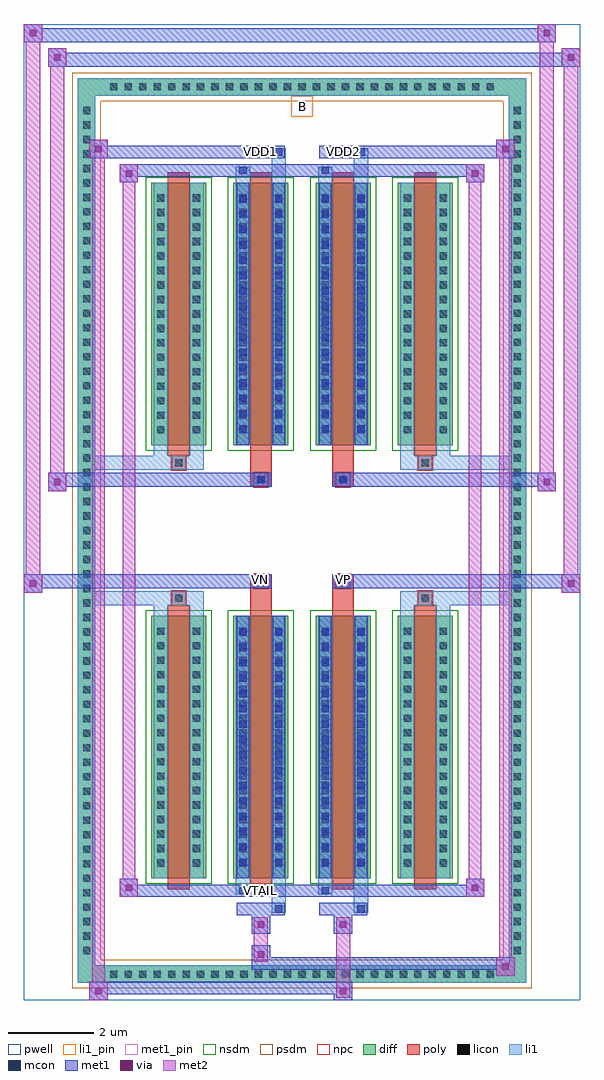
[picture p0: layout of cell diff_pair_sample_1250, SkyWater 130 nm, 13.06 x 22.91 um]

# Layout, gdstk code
import gdstk
lib = gdstk.Library(unit=1e-6, precision=5e-09)
def R(c, l, rs):  # rectangles x0, y0, x1, y1
    for r in rs: c.add(gdstk.rectangle(r[:2], r[2:], *l))
def A(c, l, x, y, w, h, nx, ny, dx, dy):  # array of equal rectangles
    R(c, l, [(x+i*dx, y+j*dy, x+i*dx+w, y+j*dy+h) for i in range(nx) for j in range(ny)])
def P(c, l, *ps):  # polygons
    for p in ps: c.add(gdstk.Polygon(p, *l))
pwell = (64, 44)
diff = (65, 20)
poly = (66, 20)
licon = (66, 44)
li1_pin = (67, 16)
li1 = (67, 20)
mcon = (67, 44)
met1_pin = (68, 16)
met1 = (68, 20)
via = (68, 44)
met2 = (69, 20)
nsdm = (93, 44)
psdm = (94, 20)
npc = (95, 20)

diff_pair_sample_1250 = lib.new_cell('diff_pair_sample_1250')
R(diff_pair_sample_1250, pwell, [(-6.53,-11.02,6.53,11.89), (-3.85,-9.21,-0.01,-0.825), (0.01,-9.21,3.85,-0.825), (-3.85,0.825,-0.01,9.21), (0.01,0.825,3.85,9.21)])
A(diff_pair_sample_1250, diff, -4.625, -10.62, 0.41, 0.41, 27, 2, 0.34, 20.83)
A(diff_pair_sample_1250, diff, -5.26, -10.065, 0.41, 0.41, 1, 59, 0, 0.34)
A(diff_pair_sample_1250, diff, 4.85, -10.065, 0.41, 0.41, 1, 59, 0, 0.34)
A(diff_pair_sample_1250, diff, -3.54, -8.165, 1.29, 6.16, 4, 2, 1.93, 10.17)
R(diff_pair_sample_1250, diff, [(-4.625,-10.62,4.625,-10.21), (-5.26,-10.065,-4.85,10.065), (4.85,-10.065,5.26,10.065), (-4.625,10.21,4.625,10.62)])
P(diff_pair_sample_1250, diff, [(5.26,10.62),(-5.26,10.62),(-5.26,-10.21),(-4.85,-10.21),(-4.85,10.21),(4.85,10.21),(4.85,-10.21),(-4.85,-10.21),(-5.26,-10.21),(-5.26,-10.62),(5.26,-10.62)])
A(diff_pair_sample_1250, poly, -3.15, -8.415, 0.51, 6.66, 4, 2, 1.93, 10.17)
R(diff_pair_sample_1250, poly, [(-3.06,-1.755,-2.73,-1.425), (-3.06,-1.755,-2.73,-1.425), (-1.22,-1.755,-0.71,-1.355), (0.71,-1.755,1.22,-1.355), (2.73,-1.755,3.06,-1.425), (2.73,-1.755,3.06,-1.425), (-1.22,-1.355,-0.71,-1.025), (-1.13,-1.355,-0.8,-1.025), (0.71,-1.355,1.22,-1.025), (0.8,-1.355,1.13,-1.025), (-1.22,1.025,-0.71,1.355), (-1.13,1.025,-0.8,1.355), (0.71,1.025,1.22,1.355), (0.8,1.025,1.13,1.355), (-1.22,1.355,-0.71,1.755), (0.71,1.355,1.22,1.755), (-3.06,1.425,-2.73,1.755), (-3.06,1.425,-2.73,1.755), (2.73,1.425,3.06,1.755), (2.73,1.425,3.06,1.755)])
A(diff_pair_sample_1250, licon, -4.505, -10.5, 0.17, 0.17, 27, 2, 0.34, 20.83)
A(diff_pair_sample_1250, licon, -5.14, -9.945, 0.17, 0.17, 1, 59, 0, 0.34)
A(diff_pair_sample_1250, licon, 4.97, -9.945, 0.17, 0.17, 1, 59, 0, 0.34)
A(diff_pair_sample_1250, licon, -3.4, -7.89, 0.17, 0.17, 1, 17, 0, 0.34)
A(diff_pair_sample_1250, licon, -2.56, -7.89, 0.17, 0.17, 1, 17, 0, 0.34)
A(diff_pair_sample_1250, licon, -1.47, -7.89, 0.17, 0.17, 1, 17, 0, 0.34)
A(diff_pair_sample_1250, licon, -0.63, -7.89, 0.17, 0.17, 1, 17, 0, 0.34)
A(diff_pair_sample_1250, licon, 0.46, -7.89, 0.17, 0.17, 1, 17, 0, 0.34)
A(diff_pair_sample_1250, licon, 1.3, -7.89, 0.17, 0.17, 1, 17, 0, 0.34)
A(diff_pair_sample_1250, licon, 2.39, -7.89, 0.17, 0.17, 1, 17, 0, 0.34)
A(diff_pair_sample_1250, licon, 3.23, -7.89, 0.17, 0.17, 1, 17, 0, 0.34)
A(diff_pair_sample_1250, licon, -3.4, 2.28, 0.17, 0.17, 1, 17, 0, 0.34)
A(diff_pair_sample_1250, licon, -2.56, 2.28, 0.17, 0.17, 1, 17, 0, 0.34)
A(diff_pair_sample_1250, licon, -1.47, 2.28, 0.17, 0.17, 1, 17, 0, 0.34)
A(diff_pair_sample_1250, licon, -0.63, 2.28, 0.17, 0.17, 1, 17, 0, 0.34)
A(diff_pair_sample_1250, licon, 0.46, 2.28, 0.17, 0.17, 1, 17, 0, 0.34)
A(diff_pair_sample_1250, licon, 1.3, 2.28, 0.17, 0.17, 1, 17, 0, 0.34)
A(diff_pair_sample_1250, licon, 2.39, 2.28, 0.17, 0.17, 1, 17, 0, 0.34)
A(diff_pair_sample_1250, licon, 3.23, 2.28, 0.17, 0.17, 1, 17, 0, 0.34)
R(diff_pair_sample_1250, licon, [(-2.98,-1.675,-2.81,-1.505), (2.81,-1.675,2.98,-1.505), (-1.05,-1.275,-0.88,-1.105), (0.88,-1.275,1.05,-1.105), (-1.05,1.105,-0.88,1.275), (0.88,1.105,1.05,1.275), (-2.98,1.505,-2.81,1.675), (2.81,1.505,2.98,1.675)])
R(diff_pair_sample_1250, li1_pin, [(-0.25,9.71,0.25,10.21)])
A(diff_pair_sample_1250, li1, -4.585, -10.58, 0.33, 0.33, 27, 2, 0.34, 20.83)
A(diff_pair_sample_1250, li1, -5.22, -10.025, 0.33, 0.33, 1, 59, 0, 0.34)
A(diff_pair_sample_1250, li1, 4.89, -10.025, 0.33, 0.33, 1, 59, 0, 0.34)
A(diff_pair_sample_1250, li1, -3.48, -7.97, 0.33, 0.33, 1, 17, 0, 0.34)
A(diff_pair_sample_1250, li1, -2.64, -7.97, 0.33, 0.33, 1, 17, 0, 0.34)
A(diff_pair_sample_1250, li1, -1.55, -7.97, 0.33, 0.33, 1, 17, 0, 0.34)
A(diff_pair_sample_1250, li1, -0.71, -7.97, 0.33, 0.33, 1, 17, 0, 0.34)
A(diff_pair_sample_1250, li1, 0.38, -7.97, 0.33, 0.33, 1, 17, 0, 0.34)
A(diff_pair_sample_1250, li1, 1.22, -7.97, 0.33, 0.33, 1, 17, 0, 0.34)
A(diff_pair_sample_1250, li1, 2.31, -7.97, 0.33, 0.33, 1, 17, 0, 0.34)
A(diff_pair_sample_1250, li1, 3.15, -7.97, 0.33, 0.33, 1, 17, 0, 0.34)
A(diff_pair_sample_1250, li1, -1.47, -7.87, 0.17, 0.17, 1, 16, 0, 0.36)
A(diff_pair_sample_1250, li1, -0.63, -7.87, 0.17, 0.17, 1, 16, 0, 0.36)
A(diff_pair_sample_1250, li1, 0.46, -7.87, 0.17, 0.17, 1, 16, 0, 0.36)
A(diff_pair_sample_1250, li1, 1.3, -7.87, 0.17, 0.17, 1, 16, 0, 0.36)
A(diff_pair_sample_1250, li1, -3.48, 2.2, 0.33, 0.33, 1, 17, 0, 0.34)
A(diff_pair_sample_1250, li1, -2.64, 2.2, 0.33, 0.33, 1, 17, 0, 0.34)
A(diff_pair_sample_1250, li1, -1.55, 2.2, 0.33, 0.33, 1, 17, 0, 0.34)
A(diff_pair_sample_1250, li1, -0.71, 2.2, 0.33, 0.33, 1, 17, 0, 0.34)
A(diff_pair_sample_1250, li1, 0.38, 2.2, 0.33, 0.33, 1, 17, 0, 0.34)
A(diff_pair_sample_1250, li1, 1.22, 2.2, 0.33, 0.33, 1, 17, 0, 0.34)
A(diff_pair_sample_1250, li1, 2.31, 2.2, 0.33, 0.33, 1, 17, 0, 0.34)
A(diff_pair_sample_1250, li1, 3.15, 2.2, 0.33, 0.33, 1, 17, 0, 0.34)
A(diff_pair_sample_1250, li1, -1.47, 2.3, 0.17, 0.17, 1, 16, 0, 0.36)
A(diff_pair_sample_1250, li1, -0.63, 2.3, 0.17, 0.17, 1, 16, 0, 0.36)
A(diff_pair_sample_1250, li1, 0.46, 2.3, 0.17, 0.17, 1, 16, 0, 0.36)
A(diff_pair_sample_1250, li1, 1.3, 2.3, 0.17, 0.17, 1, 16, 0, 0.36)
R(diff_pair_sample_1250, li1, [(-5.26,-10.62,-4.85,-10.21), (-5.26,-10.62,-4.85,-10.21), (-4.85,-10.62,4.85,-10.21), (4.85,-10.62,5.26,-10.21), (4.85,-10.62,5.26,-10.21), (-5.26,-10.21,-4.85,10.21), (4.85,-10.21,5.26,10.21), (-0.71,-8.97,-0.38,-8.165), (-0.63,-8.97,-0.46,-8.8), (1.22,-8.97,1.55,-8.165), (1.3,-8.97,1.47,-8.8), (-1.55,-8.54,-1.22,-8.165), (-1.47,-8.54,-1.3,-8.37), (0.38,-8.54,0.71,-8.165), (0.46,-8.54,0.63,-8.37), (-3.48,-8.165,-3.15,-2.005), (-2.64,-8.165,-2.31,-2.005), (-1.55,-8.165,-1.22,-2.005), (-0.71,-8.165,-0.38,-2.005), (0.38,-8.165,0.71,-2.005), (1.22,-8.165,1.55,-2.005), (2.31,-8.165,2.64,-2.005), (3.15,-8.165,3.48,-2.005), (-1.47,-7.87,-1.3,-2.3), (-0.63,-7.87,-0.46,-2.3), (0.46,-7.87,0.63,-2.3), (1.3,-7.87,1.47,-2.3), (-3.48,-2.005,-3.15,-1.425), (-2.64,-2.005,-2.31,-1.425), (2.31,-2.005,2.64,-1.425), (3.15,-2.005,3.48,-1.425), (-5.26,-1.755,-3.06,-1.425), (-3.48,-1.755,-3.06,-1.425), (-3.06,-1.755,-2.73,-1.425), (-2.73,-1.755,-2.31,-1.425), (2.31,-1.755,2.73,-1.425), (2.73,-1.755,3.06,-1.425), (2.73,-1.755,5.26,-1.425), (3.06,-1.755,3.48,-1.425), (-1.13,-1.355,-0.8,-1.025), (0.8,-1.355,1.13,-1.025), (-1.13,1.025,-0.8,1.355), (0.8,1.025,1.13,1.355), (-5.26,1.425,-3.06,1.755), (-3.48,1.425,-3.06,1.755), (-3.48,1.425,-3.15,2.005), (-3.06,1.425,-2.73,1.755), (-2.73,1.425,-2.31,1.755), (-2.64,1.425,-2.31,2.005), (2.31,1.425,2.73,1.755), (2.31,1.425,2.64,2.005), (2.73,1.425,3.06,1.755), (2.73,1.425,5.26,1.755), (3.06,1.425,3.48,1.755), (3.15,1.425,3.48,2.005), (-3.48,2.005,-3.15,8.165), (-2.64,2.005,-2.31,8.165), (-1.55,2.005,-1.22,8.165), (-0.71,2.005,-0.38,8.165), (0.38,2.005,0.71,8.165), (1.22,2.005,1.55,8.165), (2.31,2.005,2.64,8.165), (3.15,2.005,3.48,8.165), (-1.47,2.3,-1.3,7.87), (-0.63,2.3,-0.46,7.87), (0.46,2.3,0.63,7.87), (1.3,2.3,1.47,7.87), (-1.55,8.165,-1.22,8.54), (-0.71,8.165,-0.38,8.97), (0.38,8.165,0.71,8.54), (1.22,8.165,1.55,8.97), (-1.47,8.37,-1.3,8.54), (0.46,8.37,0.63,8.54), (-0.63,8.8,-0.46,8.97), (1.3,8.8,1.47,8.97), (-5.26,10.21,-4.85,10.62), (-5.26,10.21,-4.85,10.62), (-4.85,10.21,4.85,10.62), (4.85,10.21,5.26,10.62), (4.85,10.21,5.26,10.62)])
A(diff_pair_sample_1250, mcon, -1.47, -7.87, 0.17, 0.17, 1, 16, 0, 0.36)
A(diff_pair_sample_1250, mcon, -0.63, -7.87, 0.17, 0.17, 1, 16, 0, 0.36)
A(diff_pair_sample_1250, mcon, 0.46, -7.87, 0.17, 0.17, 1, 16, 0, 0.36)
A(diff_pair_sample_1250, mcon, 1.3, -7.87, 0.17, 0.17, 1, 16, 0, 0.36)
A(diff_pair_sample_1250, mcon, -1.47, 2.3, 0.17, 0.17, 1, 16, 0, 0.36)
A(diff_pair_sample_1250, mcon, -0.63, 2.3, 0.17, 0.17, 1, 16, 0, 0.36)
A(diff_pair_sample_1250, mcon, 0.46, 2.3, 0.17, 0.17, 1, 16, 0, 0.36)
A(diff_pair_sample_1250, mcon, 1.3, 2.3, 0.17, 0.17, 1, 16, 0, 0.36)
R(diff_pair_sample_1250, mcon, [(-0.63,-8.97,-0.46,-8.8), (1.3,-8.97,1.47,-8.8), (-1.47,-8.54,-1.3,-8.37), (0.46,-8.54,0.63,-8.37), (-1.05,-1.275,-0.88,-1.105), (0.88,-1.275,1.05,-1.105), (-1.05,1.105,-0.88,1.275), (0.88,1.105,1.05,1.275), (-1.47,8.37,-1.3,8.54), (0.46,8.37,0.63,8.54), (-0.63,8.8,-0.46,8.97), (1.3,8.8,1.47,8.97)])
R(diff_pair_sample_1250, met1_pin, [(-1.1,-8.58,-0.83,-8.31), (-1.1,-1.295,-0.83,-1.025), (0.83,-1.295,1.1,-1.025), (-1.1,8.76,-0.83,9.03), (0.83,8.76,1.1,9.03)])
A(diff_pair_sample_1250, met1, -1.53, -7.93, 0.29, 0.29, 1, 16, 0, 0.36)
A(diff_pair_sample_1250, met1, -0.69, -7.93, 0.29, 0.29, 1, 16, 0, 0.36)
A(diff_pair_sample_1250, met1, 0.4, -7.93, 0.29, 0.29, 1, 16, 0, 0.36)
A(diff_pair_sample_1250, met1, 1.24, -7.93, 0.29, 0.29, 1, 16, 0, 0.36)
A(diff_pair_sample_1250, met1, -1.53, 2.24, 0.29, 0.29, 1, 16, 0, 0.36)
A(diff_pair_sample_1250, met1, -0.69, 2.24, 0.29, 0.29, 1, 16, 0, 0.36)
A(diff_pair_sample_1250, met1, 0.4, 2.24, 0.29, 0.29, 1, 16, 0, 0.36)
A(diff_pair_sample_1250, met1, 1.24, 2.24, 0.29, 0.29, 1, 16, 0, 0.36)
R(diff_pair_sample_1250, met1, [(-4.99,-11.02,-4.56,-10.59), (0.75,-11.02,1.18,-10.59), (-4.99,-10.88,1.18,-10.59), (4.56,-10.45,4.99,-10.02), (-1.18,-10.31,4.99,-10.02), (-1.18,-10.17,-0.75,-9.74), (-1.18,-9.46,-0.75,-9.03), (0.75,-9.46,1.18,-9.03), (-1.53,-9.03,-0.4,-8.74), (-0.69,-9.03,-0.4,-8.74), (0.4,-9.03,1.53,-8.74), (1.24,-9.03,1.53,-8.74), (-4.28,-8.6,-3.85,-8.17), (-4.28,-8.6,-1.53,-8.31), (-1.53,-8.6,-1.24,-8.31), (-1.53,-8.6,-0.4,-8.31), (-0.4,-8.6,0.4,-8.31), (0.4,-8.6,0.69,-8.31), (0.4,-8.6,1.53,-8.31), (1.53,-8.6,4.28,-8.31), (3.85,-8.6,4.28,-8.17), (-1.53,-8.165,-1.24,-2.005), (-0.69,-8.165,-0.4,-2.005), (0.4,-8.165,0.69,-2.005), (1.24,-8.165,1.53,-2.005), (-6.53,-1.455,-6.1,-1.025), (6.1,-1.455,6.53,-1.025), (-6.53,-1.355,-0.71,-1.025), (-1.22,-1.355,-0.71,-1.025), (0.71,-1.355,1.22,-1.025), (0.71,-1.355,6.53,-1.025), (-1.11,-1.335,-0.82,-1.045), (0.82,-1.335,1.11,-1.045), (-5.96,0.925,-5.53,1.355), (5.53,0.925,5.96,1.355), (-5.96,1.025,-1.22,1.355), (-1.22,1.025,-0.71,1.355), (0.71,1.025,1.22,1.355), (1.22,1.025,5.96,1.355), (-1.11,1.045,-0.82,1.335), (0.82,1.045,1.11,1.335), (-1.53,2.005,-1.24,8.165), (-0.69,2.005,-0.4,8.165), (0.4,2.005,0.69,8.165), (1.24,2.005,1.53,8.165), (-4.28,8.17,-3.85,8.6), (3.85,8.17,4.28,8.6), (-4.28,8.31,-1.53,8.6), (-1.53,8.31,-1.24,8.6), (-1.53,8.31,-0.4,8.6), (-0.4,8.31,0.4,8.6), (0.4,8.31,0.69,8.6), (0.4,8.31,1.53,8.6), (1.53,8.31,4.28,8.6), (-4.99,8.74,-4.56,9.17), (-4.99,8.74,-1.53,9.03), (-1.53,8.74,-0.4,9.03), (-0.69,8.74,-0.4,9.03), (0.4,8.74,1.53,9.03), (1.24,8.74,1.53,9.03), (1.53,8.74,4.99,9.03), (4.56,8.74,4.99,9.17), (-5.96,10.89,-5.53,11.32), (-5.96,10.89,-3.85,11.22), (-3.85,10.89,3.85,11.22), (3.85,10.89,6.53,11.22), (6.1,10.89,6.53,11.32), (-6.53,11.46,-6.1,11.89), (-6.53,11.46,-3.85,11.79), (-3.85,11.46,3.85,11.79), (3.85,11.46,5.96,11.79), (5.53,11.46,5.96,11.89)])
R(diff_pair_sample_1250, via, [(-4.85,-10.88,-4.7,-10.73), (0.89,-10.88,1.04,-10.73), (4.7,-10.31,4.85,-10.16), (-1.04,-10.03,-0.89,-9.88), (-1.04,-9.32,-0.89,-9.17), (0.89,-9.32,1.04,-9.17), (-4.14,-8.46,-3.99,-8.31), (3.99,-8.46,4.14,-8.31), (-6.39,-1.315,-6.24,-1.165), (6.24,-1.315,6.39,-1.165), (-5.82,1.065,-5.67,1.215), (5.67,1.065,5.82,1.215), (-4.14,8.31,-3.99,8.46), (3.99,8.31,4.14,8.46), (-4.85,8.88,-4.7,9.03), (4.7,8.88,4.85,9.03), (-5.82,11.03,-5.67,11.18), (6.24,11.03,6.39,11.18), (-6.39,11.6,-6.24,11.75), (5.67,11.6,5.82,11.75)])
R(diff_pair_sample_1250, met2, [(-4.99,-11.02,-4.56,-10.59), (-4.92,-11.02,-4.63,9.17), (-4.63,-11.02,-4.56,-10.59), (-4.94,-10.97,-4.61,-10.64), (0.8,-10.97,1.13,-10.64), (0.8,-10.64,1.13,-9.41), (4.56,-10.45,4.99,-10.02), (4.63,-10.45,4.92,9.17), (4.92,-10.45,4.99,-10.02), (4.61,-10.4,4.94,-10.07), (-1.13,-10.12,-0.8,-9.79), (-1.13,-9.79,-0.8,-9.41), (-1.13,-9.41,-0.8,-9.08), (0.8,-9.41,1.13,-9.08), (-4.28,-8.6,-3.85,-8.17), (-4.21,-8.6,-3.92,8.6), (-3.92,-8.6,-3.85,-8.17), (3.85,-8.6,4.28,-8.17), (3.92,-8.6,4.21,8.6), (4.21,-8.6,4.28,-8.17), (-4.23,-8.55,-3.9,-8.22), (3.9,-8.55,4.23,-8.22), (-6.53,-1.455,-6.1,-1.025), (-6.48,-1.455,-6.15,11.89), (-6.15,-1.455,-6.1,-1.025), (6.1,-1.455,6.53,-1.025), (6.15,-1.455,6.48,11.32), (6.48,-1.455,6.53,-1.025), (-6.48,-1.405,-6.15,-1.075), (6.15,-1.405,6.48,-1.075), (-5.96,0.925,-5.53,1.355), (-5.91,0.925,-5.58,11.32), (-5.58,0.925,-5.53,1.355), (5.53,0.925,5.96,1.355), (5.58,0.925,5.91,11.89), (5.91,0.925,5.96,1.355), (-5.91,0.975,-5.58,1.305), (5.58,0.975,5.91,1.305), (-4.28,8.17,-3.85,8.6), (-3.92,8.17,-3.85,8.6), (3.85,8.17,4.28,8.6), (4.21,8.17,4.28,8.6), (-4.23,8.22,-3.9,8.55), (3.9,8.22,4.23,8.55), (-4.99,8.74,-4.56,9.17), (-4.63,8.74,-4.56,9.17), (4.56,8.74,4.99,9.17), (4.92,8.74,4.99,9.17), (-4.94,8.79,-4.61,9.12), (4.61,8.79,4.94,9.12), (-5.96,10.89,-5.53,11.32), (-5.58,10.89,-5.53,11.32), (6.1,10.89,6.53,11.32), (6.48,10.89,6.53,11.32), (-5.91,10.94,-5.58,11.27), (6.15,10.94,6.48,11.27), (-6.53,11.46,-6.1,11.89), (-6.15,11.46,-6.1,11.89), (5.53,11.46,5.96,11.89), (5.91,11.46,5.96,11.89), (-6.48,11.51,-6.15,11.84), (5.58,11.51,5.91,11.84)])
A(diff_pair_sample_1250, nsdm, -3.67, -8.295, 1.55, 6.42, 4, 2, 1.93, 10.17)
P(diff_pair_sample_1250, psdm, [(5.39,10.75),(-5.39,10.75),(-5.39,-10.08),(-4.72,-10.08),(-4.72,10.08),(4.72,10.08),(4.72,-10.08),(-4.72,-10.08),(-5.39,-10.08),(-5.39,-10.75),(5.39,-10.75)])
R(diff_pair_sample_1250, npc, [(-3.08,-1.775,-2.71,-1.405), (2.71,-1.775,3.08,-1.405), (-1.15,-1.375,-0.78,-1.005), (0.78,-1.375,1.15,-1.005), (-1.15,1.005,-0.78,1.375), (0.78,1.005,1.15,1.375), (-3.08,1.405,-2.71,1.775), (2.71,1.405,3.08,1.775)])
diff_pair_sample_1250.add(gdstk.Label('VTAIL', (-0.965,-8.445), layer=68, texttype=5))
diff_pair_sample_1250.add(gdstk.Label('VN', (-0.965,-1.16), layer=68, texttype=5))
diff_pair_sample_1250.add(gdstk.Label('VP', (0.965,-1.16), layer=68, texttype=5))
diff_pair_sample_1250.add(gdstk.Label('B', (0,9.96), layer=67, texttype=5))
diff_pair_sample_1250.add(gdstk.Label('VDD2', (0.965,8.895), layer=68, texttype=5))
diff_pair_sample_1250.add(gdstk.Label('VDD1', (-0.965,8.895), layer=68, texttype=5))

lib.write_gds('diff_pair_sample_1250.gds')
